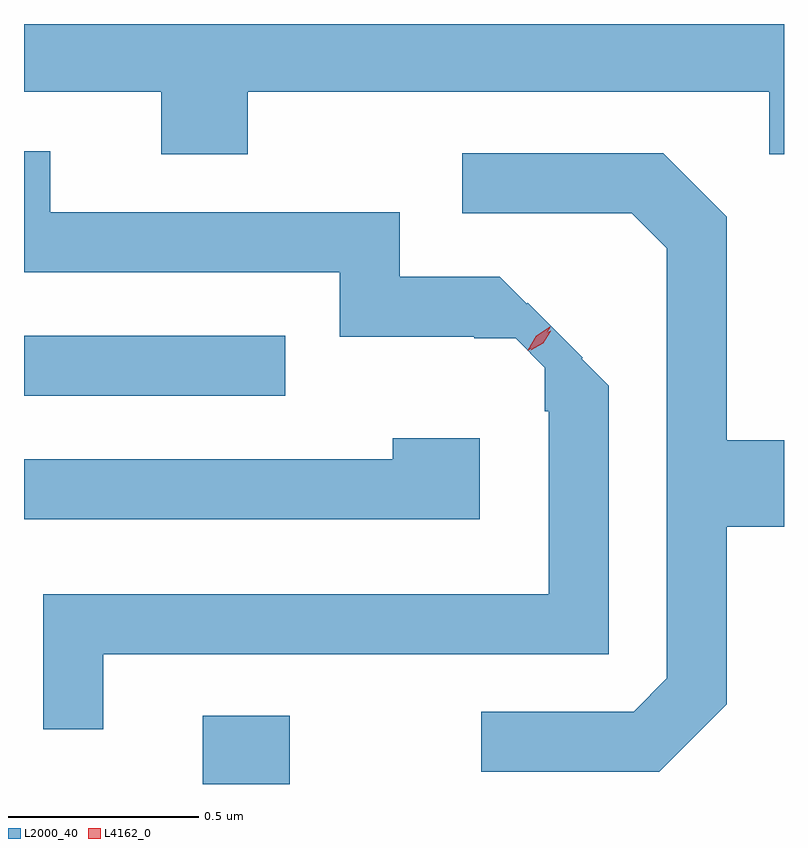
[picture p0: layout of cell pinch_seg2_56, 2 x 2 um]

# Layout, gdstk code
import gdstk
lib = gdstk.Library(unit=1e-6, precision=1e-09)
def R(c, l, rs):  # rectangles x0, y0, x1, y1
    for r in rs: c.add(gdstk.rectangle(r[:2], r[2:], *l))
def P(c, l, *ps):  # polygons
    for p in ps: c.add(gdstk.Polygon(p, *l))
L2000_40 = (2000, 40)
L4162_0 = (4162, 0)

pinch_seg2_56 = lib.new_cell('pinch_seg2_56')
R(pinch_seg2_56, L2000_40, [(1224.741,1075.354,1224.969,1075.534), (1224.27,1076.376,1224.958,1076.534)])
P(pinch_seg2_56, L2000_40, [(1224.859,1077.176),(1226.231,1077.176),(1226.231,1077.011),(1226.27,1077.011),(1226.27,1077.354),(1224.27,1077.354),(1224.27,1077.176),(1224.631,1077.176),(1224.631,1077.011),(1224.859,1077.011)],
  [(1224.479,1075.696),(1225.809,1075.696),(1225.809,1076.402),(1225.738,1076.473),(1225.74,1076.476),(1225.596,1076.62),(1225.593,1076.618),(1225.522,1076.689),(1225.259,1076.689),(1225.259,1076.859),(1224.339,1076.859),(1224.339,1077.019),(1224.27,1077.019),(1224.27,1076.701),(1225.101,1076.701),(1225.101,1076.531),(1225.455,1076.531),(1225.455,1076.527),(1225.564,1076.527),(1225.64,1076.45),(1225.64,1076.335),(1225.651,1076.335),(1225.651,1075.854),(1224.321,1075.854),(1224.321,1075.498),(1224.479,1075.498)],
  [(1226.119,1075.564),(1226.119,1076.031),(1226.27,1076.031),(1226.27,1076.259),(1226.119,1076.259),(1226.119,1076.847),(1225.952,1077.014),(1225.423,1077.014),(1225.423,1076.856),(1225.869,1076.856),(1225.961,1076.764),(1225.961,1075.632),(1225.874,1075.544),(1225.473,1075.544),(1225.473,1075.386),(1225.942,1075.386)],
  [(1225.469,1076.264),(1225.241,1076.264),(1225.241,1076.209),(1224.27,1076.209),(1224.27,1076.051),(1225.469,1076.051)])
P(pinch_seg2_56, L4162_0, [(1225.595,1076.494),(1225.595,1076.495),(1225.618,1076.533),(1225.654,1076.557),(1225.655,1076.557),(1225.655,1076.556),(1225.632,1076.519),(1225.596,1076.494)],
  [(1225.603,1076.495),(1225.603,1076.496),(1225.623,1076.528),(1225.656,1076.547),(1225.656,1076.547),(1225.656,1076.546),(1225.637,1076.514),(1225.604,1076.495)])

lib.write_gds('pinch_seg2_56.gds')
